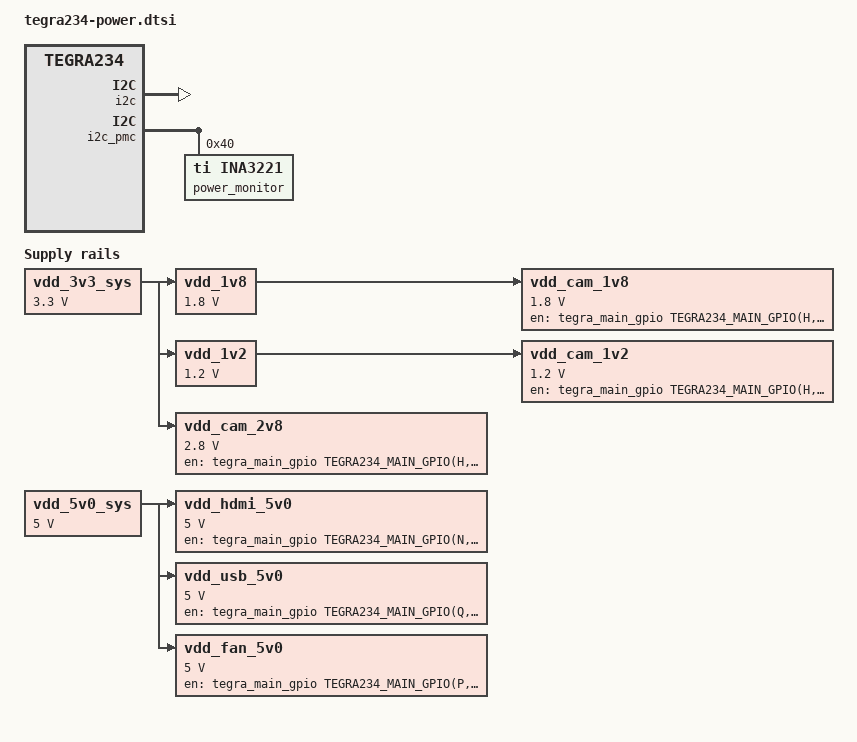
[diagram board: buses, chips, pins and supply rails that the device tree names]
// SPDX-License-Identifier: GPL-2.0
/*
 * Tegra234 Power Domain and Regulator Configurations
 *
 * This file contains common power domain and regulator configurations
 * for NVIDIA Tegra234 (Jetson Orin) platforms.
 *
 * Usage: Include this file in your device tree:
 *   #include "tegra234-power.dtsi"
 */

/*
 * Fixed Voltage Regulators
 * =========================
 * These are simple on/off regulators without voltage control
 */

/ {
    regulators {
        compatible = "simple-bus";
        #address-cells = <1>;
        #size-cells = <0>;

        /* 3.3V main rail */
        vdd_3v3_sys: regulator@0 {
            compatible = "regulator-fixed";
            reg = <0>;
            regulator-name = "vdd-3v3-sys";
            regulator-min-microvolt = <3300000>;
            regulator-max-microvolt = <3300000>;
            regulator-always-on;
            regulator-boot-on;
        };

        /* 5V main rail */
        vdd_5v0_sys: regulator@1 {
            compatible = "regulator-fixed";
            reg = <1>;
            regulator-name = "vdd-5v0-sys";
            regulator-min-microvolt = <5000000>;
            regulator-max-microvolt = <5000000>;
            regulator-always-on;
            regulator-boot-on;
        };

        /* 1.8V I/O rail */
        vdd_1v8: regulator@2 {
            compatible = "regulator-fixed";
            reg = <2>;
            regulator-name = "vdd-1v8";
            regulator-min-microvolt = <1800000>;
            regulator-max-microvolt = <1800000>;
            regulator-always-on;
            regulator-boot-on;
            vin-supply = <&vdd_3v3_sys>;
        };

        /* 1.2V digital core */
        vdd_1v2: regulator@3 {
            compatible = "regulator-fixed";
            reg = <3>;
            regulator-name = "vdd-1v2";
            regulator-min-microvolt = <1200000>;
            regulator-max-microvolt = <1200000>;
            regulator-always-on;
            regulator-boot-on;
            vin-supply = <&vdd_3v3_sys>;
        };

        /* Camera 2.8V analog */
        vdd_cam_2v8: regulator@4 {
            compatible = "regulator-fixed";
            reg = <4>;
            regulator-name = "vdd-cam-2v8";
            regulator-min-microvolt = <2800000>;
            regulator-max-microvolt = <2800000>;
            enable-active-high;
            gpio = <&tegra_main_gpio TEGRA234_MAIN_GPIO(H, 4) 0>;
            vin-supply = <&vdd_3v3_sys>;
        };

        /* Camera 1.8V digital I/O */
        vdd_cam_1v8: regulator@5 {
            compatible = "regulator-fixed";
            reg = <5>;
            regulator-name = "vdd-cam-1v8";
            regulator-min-microvolt = <1800000>;
            regulator-max-microvolt = <1800000>;
            enable-active-high;
            gpio = <&tegra_main_gpio TEGRA234_MAIN_GPIO(H, 5) 0>;
            vin-supply = <&vdd_1v8>;
        };

        /* Camera 1.2V digital core */
        vdd_cam_1v2: regulator@6 {
            compatible = "regulator-fixed";
            reg = <6>;
            regulator-name = "vdd-cam-1v2";
            regulator-min-microvolt = <1200000>;
            regulator-max-microvolt = <1200000>;
            enable-active-high;
            gpio = <&tegra_main_gpio TEGRA234_MAIN_GPIO(H, 6) 0>;
            vin-supply = <&vdd_1v2>;
        };

        /* HDMI 5V */
        vdd_hdmi_5v0: regulator@7 {
            compatible = "regulator-fixed";
            reg = <7>;
            regulator-name = "vdd-hdmi-5v0";
            regulator-min-microvolt = <5000000>;
            regulator-max-microvolt = <5000000>;
            enable-active-high;
            gpio = <&tegra_main_gpio TEGRA234_MAIN_GPIO(N, 1) 0>;
            vin-supply = <&vdd_5v0_sys>;
        };

        /* USB VBUS */
        vdd_usb_5v0: regulator@8 {
            compatible = "regulator-fixed";
            reg = <8>;
            regulator-name = "vdd-usb-5v0";
            regulator-min-microvolt = <5000000>;
            regulator-max-microvolt = <5000000>;
            enable-active-high;
            gpio = <&tegra_main_gpio TEGRA234_MAIN_GPIO(Q, 4) 0>;
            vin-supply = <&vdd_5v0_sys>;
        };

        /* Fan 5V */
        vdd_fan_5v0: regulator@9 {
            compatible = "regulator-fixed";
            reg = <9>;
            regulator-name = "vdd-fan-5v0";
            regulator-min-microvolt = <5000000>;
            regulator-max-microvolt = <5000000>;
            enable-active-high;
            gpio = <&tegra_main_gpio TEGRA234_MAIN_GPIO(P, 4) 0>;
            vin-supply = <&vdd_5v0_sys>;
        };
    };
};

/*
 * Power Domains
 * =============
 * Tegra234 uses BPMP (Boot and Power Management Processor) for power management
 */

&bpmp {
    i2c {
        status = "okay";
    };

    /* BPMP thermal zones */
    thermal {
        status = "okay";
    };
};

/*
 * Power Domain Definitions
 * ========================
 * Reference power domains for various subsystems
 */

/* Example power domain usage for PCIe */
&pcie_c5 {
    power-domains = <&bpmp TEGRA234_POWER_DOMAIN_PCIEX4A>;
    interconnects = <&mc TEGRA234_MEMORY_CLIENT_PCIE5AR>,
                    <&mc TEGRA234_MEMORY_CLIENT_PCIE5AW>;
    interconnect-names = "dma-mem", "write";
};

/* Example power domain for display */
&display {
    power-domains = <&bpmp TEGRA234_POWER_DOMAIN_DISP>;
};

/* Example power domain for GPU */
&gpu {
    power-domains = <&bpmp TEGRA234_POWER_DOMAIN_GPU>;
};

/*
 * Voltage Monitoring (INA3221)
 * =============================
 * Triple-channel power monitor for current/voltage/power measurement
 */

&i2c_pmc {
    status = "okay";

    power_monitor: ina3221@40 {
        compatible = "ti,ina3221";
        reg = <0x40>;
        #address-cells = <1>;
        #size-cells = <0>;

        /* Channel 0: GPU */
        input@0 {
            reg = <0>;
            label = "GPU";
            shunt-resistor-micro-ohms = <5000>;  /* 5 milliohm */
        };

        /* Channel 1: CPU */
        input@1 {
            reg = <1>;
            label = "CPU";
            shunt-resistor-micro-ohms = <5000>;
        };

        /* Channel 2: SOC */
        input@2 {
            reg = <2>;
            label = "SOC";
            shunt-resistor-micro-ohms = <5000>;
        };
    };
};

/*
 * Reading Power Metrics:
 * ======================
 *
 * INA3221 power monitor:
 *   ls /sys/bus/i2c/devices/*/hwmon/hwmon*/
 *
 *   # Voltage (mV)
 *   cat /sys/bus/i2c/devices/*/hwmon/hwmon*/in1_input
 *
 *   # Current (mA)
 *   cat /sys/bus/i2c/devices/*/hwmon/hwmon*/curr1_input
 *
 *   # Power (mW)
 *   cat /sys/bus/i2c/devices/*/hwmon/hwmon*/power1_input
 *
 * Power domain status:
 *   cat /sys/kernel/debug/bpmp/debug/power/domain_info
 *
 * Regulator status:
 *   cat /sys/class/regulator/regulator*/name
 *   cat /sys/class/regulator/regulator*/microvolts
 *   cat /sys/class/regulator/regulator*/state
 */

/*
 * Power Optimization Tips:
 * ========================
 *
 * 1. Runtime PM:
 *    - Enable runtime power management for unused devices
 *    - echo auto > /sys/bus/*/devices/*/power/control
 *
 * 2. CPU frequency scaling:
 *    - Use ondemand or schedutil governor
 *    - echo schedutil > /sys/devices/system/cpu/cpufreq/policy*/scaling_governor
 *
 * 3. GPU power management:
 *    - Enable GPU DVFS (Dynamic Voltage and Frequency Scaling)
 *    - cat /sys/kernel/debug/bpmp/debug/clk/nafll_gpu/rate
 *
 * 4. Display power:
 *    - Reduce brightness when possible
 *    - Enable DPMS (Display Power Management Signaling)
 *
 * 5. Peripheral power:
 *    - Disable unused interfaces (UART, SPI, I2C)
 *    - Use power-domains in device tree
 *    - Enable regulator-boot-on only when necessary
 */

/*
 * Regulator Properties Reference:
 * ================================
 *
 * regulator-name: Human-readable name
 * regulator-min-microvolt: Minimum voltage in microvolts
 * regulator-max-microvolt: Maximum voltage in microvolts
 * regulator-always-on: Never turn off this regulator
 * regulator-boot-on: Turn on during boot
 * enable-active-high: GPIO is active high (vs active low)
 * gpio: GPIO for enable control
 * vin-supply: Parent regulator (power source)
 * regulator-ramp-delay: Voltage ramp delay in uV/us
 * regulator-settling-time-us: Time to wait after enable
 *
 * Common Tegra234 Power Domains:
 * ===============================
 *
 * TEGRA234_POWER_DOMAIN_PCIEX4A: PCIe x4 controller A
 * TEGRA234_POWER_DOMAIN_PCIEX4B: PCIe x4 controller B
 * TEGRA234_POWER_DOMAIN_PCIEX8A: PCIe x8 controller A
 * TEGRA234_POWER_DOMAIN_GPU: GPU domain
 * TEGRA234_POWER_DOMAIN_DISP: Display domain
 * TEGRA234_POWER_DOMAIN_NVDEC: Video decoder
 * TEGRA234_POWER_DOMAIN_NVENC: Video encoder
 * TEGRA234_POWER_DOMAIN_VIC: Video image compositor
 */
